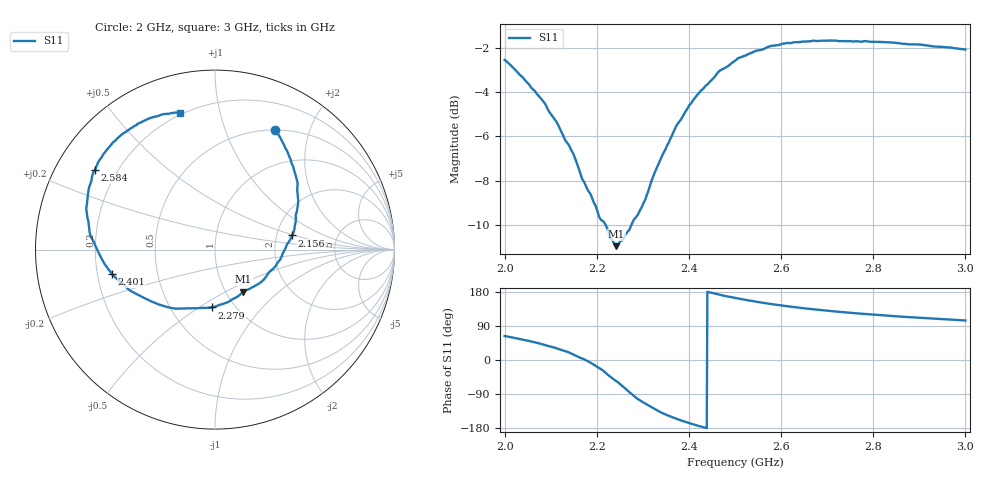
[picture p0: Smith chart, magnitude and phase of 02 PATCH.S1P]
!Agilent Technologies,E5071C,MY46105125,A.08.12
!Date: Tue Sep 16 09:38:06 2014
!Data & Calibration Information:
!Freq	S11:SOLT1(ON)
# Hz S RI R 50
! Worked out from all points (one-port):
!   801 points, 2 GHz to 3 GHz, reference 50 ohm
!   lowest |S11| = -11.0 dB at 2.243 GHz (marker M1), VSWR 1.79, Z = 60.3 - j30.7 ohm
!   |S11| at or under -10 dB: 2.219 GHz to 2.275 GHz (56.02 MHz wide, 2.49 % of centre)
!   S11 on the Smith chart (normalised r, x): 2 GHz: 0.50, +1.50; 2.156 GHz: 2.44, +0.48; 2.279 GHz: 0.79, -0.57; 2.401 GHz: 0.26, -0.11; 2.584 GHz: 0.12, +0.30; 3 GHz: 0.19, +0.76
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2e9  0.335 0.6664
2.0375e9  0.3973 0.557
2.08375e9  0.455 0.3941
2.125e9  0.4578 0.2217
2.13875e9  0.4503 0.1662
2.15625e9  0.4298 0.0787
2.195e9  0.3437 -0.0817
2.215e9  0.2805 -0.1567
2.22375e9  0.2406 -0.192
2.2425e9  0.1588 -0.2343
2.25e9  0.132 -0.2575
2.27875e9  -0.0162 -0.322
2.30125e9  -0.134 -0.3274
2.3225e9  -0.2464 -0.3245
2.3425e9  -0.349 -0.2915
2.375e9  -0.489 -0.2149
2.40125e9  -0.5744 -0.1358
2.4225e9  -0.6264 -0.0601
2.4625e9  -0.694 0.0782
2.5e9  -0.714 0.204
2.54625e9  -0.7009 0.3488
2.58375e9  -0.671 0.4418
2.625e9  -0.6272 0.5231
2.67375e9  -0.563 0.6019
2.75e9  -0.4673 0.6769
2.7875e9  -0.4201 0.7059
2.875e9  -0.3193 0.7441
3e9  -0.1945 0.7632
